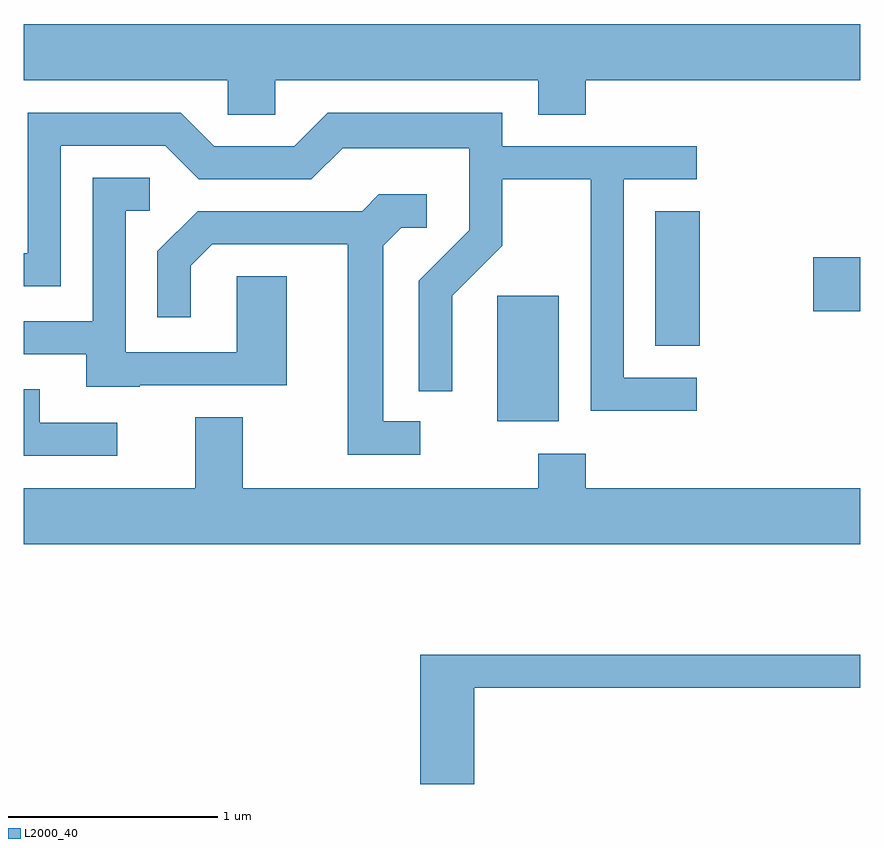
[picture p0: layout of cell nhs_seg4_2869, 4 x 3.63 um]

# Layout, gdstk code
import gdstk
lib = gdstk.Library(unit=1e-6, precision=1e-09)
def R(c, l, rs):  # rectangles x0, y0, x1, y1
    for r in rs: c.add(gdstk.rectangle(r[:2], r[2:], *l))
def P(c, l, *ps):  # polygons
    for p in ps: c.add(gdstk.Polygon(p, *l))
L2000_40 = (2000, 40)

nhs_seg4_2869 = lib.new_cell('nhs_seg4_2869')
R(nhs_seg4_2869, L2000_40, [(271.876,1282.006,272.169,1282.604), (272.631,1282.366,272.844,1283.009), (273.386,1282.531,273.611,1282.789)])
P(nhs_seg4_2869, L2000_40, [(270.814,1283.636),(272.071,1283.636),(272.071,1283.471),(272.299,1283.471),(272.299,1283.636),(273.611,1283.636),(273.611,1283.904),(269.611,1283.904),(269.611,1283.636),(270.586,1283.636),(270.586,1283.471),(270.814,1283.471)],
  [(272.828,1282.214),(272.479,1282.214),(272.479,1283.161),(272.828,1283.161),(272.828,1283.319),(271.899,1283.319),(271.899,1283.479),(271.064,1283.479),(270.904,1283.319),(270.522,1283.319),(270.362,1283.479),(269.631,1283.479),(269.631,1282.809),(269.611,1282.809),(269.611,1282.651),(269.789,1282.651),(269.789,1283.321),(270.289,1283.321),(270.449,1283.161),(270.987,1283.161),(271.137,1283.311),(271.741,1283.311),(271.741,1282.917),(271.501,1282.677),(271.501,1282.148),(271.659,1282.148),(271.659,1282.604),(271.899,1282.844),(271.899,1283.161),(272.321,1283.161),(272.321,1282.056),(272.828,1282.056)],
  [(270.165,1282.176),(270.869,1282.176),(270.869,1282.699),(270.631,1282.699),(270.631,1282.334),(270.099,1282.334),(270.099,1283.011),(270.213,1283.011),(270.213,1283.169),(269.941,1283.169),(269.941,1282.484),(269.611,1282.484),(269.611,1282.326),(269.911,1282.326),(269.911,1282.171),(270.165,1282.171)],
  [(271.508,1282.004),(271.329,1282.004),(271.329,1282.844),(271.417,1282.931),(271.538,1282.931),(271.538,1283.089),(271.309,1283.089),(271.229,1283.009),(270.444,1283.009),(270.251,1282.817),(270.251,1282.503),(270.409,1282.503),(270.409,1282.749),(270.512,1282.851),(271.161,1282.851),(271.161,1281.846),(271.508,1281.846)],
  [(270.058,1281.999),(269.689,1281.999),(269.689,1282.159),(269.611,1282.159),(269.611,1281.841),(270.058,1281.841)],
  [(273.611,1281.684),(272.299,1281.684),(272.299,1281.849),(272.071,1281.849),(272.071,1281.684),(270.659,1281.684),(270.659,1282.024),(270.431,1282.024),(270.431,1281.684),(269.611,1281.684),(269.611,1281.416),(273.611,1281.416)],
  [(271.764,1280.731),(273.611,1280.731),(273.611,1280.889),(271.506,1280.889),(271.506,1280.271),(271.764,1280.271)])

lib.write_gds('nhs_seg4_2869.gds')
